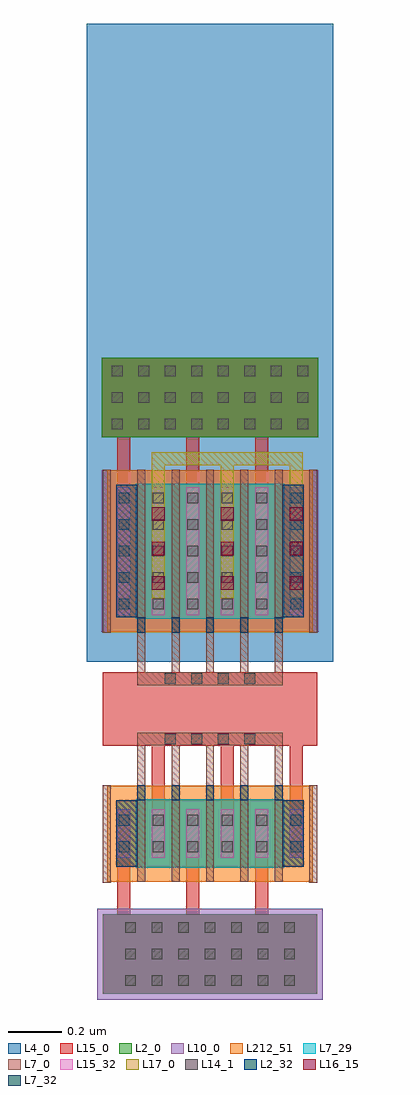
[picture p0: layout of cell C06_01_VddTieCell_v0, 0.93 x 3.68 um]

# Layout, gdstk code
import gdstk
lib = gdstk.Library(unit=1e-6, precision=1e-09)
def R(c, l, rs):  # rectangles x0, y0, x1, y1
    for r in rs: c.add(gdstk.rectangle(r[:2], r[2:], *l))
def A(c, l, x, y, w, h, nx, ny, dx, dy):  # array of equal rectangles
    R(c, l, [(x+i*dx, y+j*dy, x+i*dx+w, y+j*dy+h) for i in range(nx) for j in range(ny)])
L2_0 = (2, 0)
L2_32 = (2, 32)
L4_0 = (4, 0)
L7_0 = (7, 0)
L7_29 = (7, 29)
L7_32 = (7, 32)
L10_0 = (10, 0)
L14_1 = (14, 1)
L15_0 = (15, 0)
L15_32 = (15, 32)
L16_15 = (16, 15)
L17_0 = (17, 0)
L212_51 = (212, 51)

c06_01_vddtiecell_v0_srf = lib.new_cell('C06_01_VddTieCell_v0:SRF_TieCellNMOSRouted:SRF_Nmos:SRF_Gate_ViaM0Mx:SRF_ViaM0M1')
R(c06_01_vddtiecell_v0_srf, L7_0, [(-0.01,-0.004,0.35,0.044)])
A(c06_01_vddtiecell_v0_srf, L14_1, 0, 0, 0.04, 0.04, 4, 1, 0.1, 0)
R(c06_01_vddtiecell_v0_srf, L15_0, [(-0.021,-0.005,0.361,0.045)])

c_c06_01_vddtiecell_v0_srf = lib.new_cell('C06_01_VddTieCell_v0:SRF_TieCellNMOSRouted:SRF_Nmos:SRF_Gate_ViaM0Mx')
c_c06_01_vddtiecell_v0_srf.add(gdstk.Reference(c06_01_vddtiecell_v0_srf, (-0.17,-0.02)))

c_c06_01_vddtiecell_v0_srf_ = lib.new_cell('C06_01_VddTieCell_v0:SRF_TieCellNMOSRouted:SRF_Nmos')
R(c_c06_01_vddtiecell_v0_srf_, L2_0, [(-0.078,0.057,0.628,0.307)])
R(c_c06_01_vddtiecell_v0_srf_, L2_32, [(-0.078,0.057,0,0.307), (0.55,0.057,0.628,0.307)])
A(c_c06_01_vddtiecell_v0_srf_, L7_0, 0, 0, 0.03, 0.364, 5, 1, 0.13, 0)
A(c_c06_01_vddtiecell_v0_srf_, L7_0, 0, 0.364, 0.03, 0.15, 5, 1, 0.13, 0)
R(c_c06_01_vddtiecell_v0_srf_, L7_0, [(-0.13,-0.003,-0.1,0.364), (0.65,-0.003,0.68,0.364), (0,0.514,0.55,0.562)])
R(c_c06_01_vddtiecell_v0_srf_, L7_29, [(-0.005,0.052,0.555,0.312)])
A(c_c06_01_vddtiecell_v0_srf_, L7_32, 0, 0.307, 0.03, 0.057, 5, 1, 0.13, 0)
A(c_c06_01_vddtiecell_v0_srf_, L14_1, -0.07, 0.112, 0.04, 0.04, 6, 2, 0.13, 0.1)
R(c_c06_01_vddtiecell_v0_srf_, L15_0, [(-0.075,0.091,-0.025,0.273), (-0.075,0.091,-0.025,0.273), (0.055,0.091,0.105,0.273), (0.055,0.091,0.105,0.273), (0.185,0.091,0.235,0.273), (0.185,0.091,0.235,0.273), (0.315,0.091,0.365,0.273), (0.315,0.091,0.365,0.273), (0.445,0.091,0.495,0.273), (0.445,0.091,0.495,0.273), (0.575,0.091,0.625,0.273), (0.575,0.091,0.625,0.273), (0,0.513,0.55,0.563)])
A(c_c06_01_vddtiecell_v0_srf_, L15_32, -0.075, 0.091, 0.05, 0.182, 6, 1, 0.13, 0)
R(c_c06_01_vddtiecell_v0_srf_, L212_51, [(-0.113,0.001,0.663,0.363)])
c_c06_01_vddtiecell_v0_srf_.add(gdstk.Reference(c_c06_01_vddtiecell_v0_srf, (0.275,0.538)))

c_c06_01_vddtiecell_v0_srf__ = lib.new_cell('C06_01_VddTieCell_v0:SRF_TieCellNMOSRouted')
c_c06_01_vddtiecell_v0_srf__.add(gdstk.Reference(c_c06_01_vddtiecell_v0_srf_, (0,0)))

c_c06_01_vddtiecell_v0_srf___ = lib.new_cell('C06_01_VddTieCell_v0:SRF_TieCellPMOSRouted:SRF_Pmos:SRF_Drain_ViaM1M2:SRF_ViaM1M2')
R(c_c06_01_vddtiecell_v0_srf___, L15_0, [(0,-0.292,0.05,0.082)])
A(c_c06_01_vddtiecell_v0_srf___, L16_15, 0, -0.26, 0.05, 0.05, 1, 3, 0, 0.13)
R(c_c06_01_vddtiecell_v0_srf___, L17_0, [(0,-0.292,0.05,0.082)])

c_c06_01_vddtiecell_v0_srf____ = lib.new_cell('C06_01_VddTieCell_v0:SRF_TieCellPMOSRouted:SRF_Pmos:SRF_Drain_ViaM1M2')
c_c06_01_vddtiecell_v0_srf____.add(gdstk.Reference(c_c06_01_vddtiecell_v0_srf___, (-0.025,0.105)))

c_c06_01_vddtiecell_v0_srf_____ = lib.new_cell('C06_01_VddTieCell_v0:SRF_TieCellPMOSRouted:SRF_Pmos:SRF_Gate_ViaM0Mx:SRF_ViaM0M1')
R(c_c06_01_vddtiecell_v0_srf_____, L7_0, [(-0.01,-0.004,0.35,0.044)])
A(c_c06_01_vddtiecell_v0_srf_____, L14_1, 0, 0, 0.04, 0.04, 4, 1, 0.1, 0)
R(c_c06_01_vddtiecell_v0_srf_____, L15_0, [(-0.021,-0.005,0.361,0.045)])

c_c06_01_vddtiecell_v0_srf______ = lib.new_cell('C06_01_VddTieCell_v0:SRF_TieCellPMOSRouted:SRF_Pmos:SRF_Gate_ViaM0Mx')
c_c06_01_vddtiecell_v0_srf______.add(gdstk.Reference(c_c06_01_vddtiecell_v0_srf_____, (-0.17,-0.02)))

c_c06_01_vddtiecell_v0_srf_______ = lib.new_cell('C06_01_VddTieCell_v0:SRF_TieCellPMOSRouted:SRF_Pmos')
R(c_c06_01_vddtiecell_v0_srf_______, L2_0, [(-0.078,0.057,0.628,0.557)])
R(c_c06_01_vddtiecell_v0_srf_______, L2_32, [(-0.078,0.057,0,0.557), (0.55,0.057,0.628,0.557)])
A(c_c06_01_vddtiecell_v0_srf_______, L7_0, 0, -0.15, 0.03, 0.15, 5, 1, 0.13, 0)
A(c_c06_01_vddtiecell_v0_srf_______, L7_0, -0.13, 0, 0.03, 0.614, 7, 1, 0.13, 0)
R(c_c06_01_vddtiecell_v0_srf_______, L7_0, [(0,-0.198,0.55,-0.15)])
R(c_c06_01_vddtiecell_v0_srf_______, L7_29, [(-0.005,0.052,0.555,0.562)])
A(c_c06_01_vddtiecell_v0_srf_______, L7_32, 0, 0, 0.03, 0.057, 5, 1, 0.13, 0)
R(c_c06_01_vddtiecell_v0_srf_______, L10_0, [(-0.134,0.001,0.684,0.613)])
A(c_c06_01_vddtiecell_v0_srf_______, L14_1, -0.07, 0.087, 0.04, 0.04, 6, 5, 0.13, 0.1)
R(c_c06_01_vddtiecell_v0_srf_______, L15_0, [(0,-0.199,0.55,-0.149), (-0.075,0.066,-0.025,0.548), (-0.075,0.066,-0.025,0.548), (0.055,0.066,0.105,0.548), (0.055,0.066,0.105,0.548), (0.185,0.066,0.235,0.548), (0.185,0.066,0.235,0.548), (0.315,0.066,0.365,0.548), (0.315,0.066,0.365,0.548), (0.445,0.066,0.495,0.548), (0.445,0.066,0.495,0.548), (0.575,0.066,0.625,0.548), (0.575,0.066,0.625,0.548)])
A(c_c06_01_vddtiecell_v0_srf_______, L15_32, -0.075, 0.066, 0.05, 0.482, 6, 1, 0.13, 0)
A(c_c06_01_vddtiecell_v0_srf_______, L17_0, 0.055, 0.13, 0.05, 0.5, 3, 1, 0.26, 0)
R(c_c06_01_vddtiecell_v0_srf_______, L17_0, [(0.055,0.63,0.625,0.68)])
R(c_c06_01_vddtiecell_v0_srf_______, L212_51, [(-0.113,0.001,0.663,0.613)])
c_c06_01_vddtiecell_v0_srf_______.add(gdstk.Reference(c_c06_01_vddtiecell_v0_srf____, (0.08,0.317)))
c_c06_01_vddtiecell_v0_srf_______.add(gdstk.Reference(c_c06_01_vddtiecell_v0_srf____, (0.34,0.317)))
c_c06_01_vddtiecell_v0_srf_______.add(gdstk.Reference(c_c06_01_vddtiecell_v0_srf____, (0.6,0.317)))
c_c06_01_vddtiecell_v0_srf_______.add(gdstk.Reference(c_c06_01_vddtiecell_v0_srf______, (0.275,-0.174)))

c_c06_01_vddtiecell_v0_srf________ = lib.new_cell('C06_01_VddTieCell_v0:SRF_TieCellPMOSRouted')
c_c06_01_vddtiecell_v0_srf________.add(gdstk.Reference(c_c06_01_vddtiecell_v0_srf_______, (0,0)))

c_c06_01_vddtiecell_v0_srf_________ = lib.new_cell('C06_01_VddTieCell_v0:SRF_PMOS_Body_Contact:SRF_NbodyContactPhyLen')
R(c_c06_01_vddtiecell_v0_srf_________, L2_0, [(-0.039,-0.23,0.779,0.07)])
R(c_c06_01_vddtiecell_v0_srf_________, L4_0, [(-0.095,-0.286,0.835,0.126)])
A(c_c06_01_vddtiecell_v0_srf_________, L14_1, 0, -0.2, 0.04, 0.04, 8, 3, 0.1, 0.1)
R(c_c06_01_vddtiecell_v0_srf_________, L15_0, [(-0.039,-0.23,0.779,0.07)])

c_c06_01_vddtiecell_v0_srf__________ = lib.new_cell('C06_01_VddTieCell_v0:SRF_PMOS_Body_Contact')
c_c06_01_vddtiecell_v0_srf__________.add(gdstk.Reference(c_c06_01_vddtiecell_v0_srf_________, (0,0)))

c_c06_01_vddtiecell_v0_srf___________ = lib.new_cell('C06_01_VddTieCell_v0:SRF_NMOS_Body_Contact:SRF_PbodyContactPhyLen')
R(c_c06_01_vddtiecell_v0_srf___________, L2_0, [(-0.085,-0.23,0.725,0.07)])
R(c_c06_01_vddtiecell_v0_srf___________, L10_0, [(-0.106,-0.251,0.746,0.091)])
A(c_c06_01_vddtiecell_v0_srf___________, L14_1, 0, -0.2, 0.04, 0.04, 7, 3, 0.1, 0.1)
R(c_c06_01_vddtiecell_v0_srf___________, L15_0, [(-0.085,-0.23,0.725,0.07)])

c_c06_01_vddtiecell_v0_srf____________ = lib.new_cell('C06_01_VddTieCell_v0:SRF_NMOS_Body_Contact')
c_c06_01_vddtiecell_v0_srf____________.add(gdstk.Reference(c_c06_01_vddtiecell_v0_srf___________, (0,0)))

c06_01_vddtiecell_v0 = lib.new_cell('C06_01_VddTieCell_v0')
R(c06_01_vddtiecell_v0, L4_0, [(-0.19,0.829,0.74,1.621), (-0.19,0.829,0.74,3.237)])
A(c06_01_vddtiecell_v0, L15_0, -0.075, -0.123, 0.05, 0.214, 3, 1, 0.26, 0)
A(c06_01_vddtiecell_v0, L15_0, 0.055, 0.273, 0.05, 0.24, 3, 1, 0.26, 0)
A(c06_01_vddtiecell_v0, L15_0, -0.075, 1.488, 0.05, 0.189, 3, 1, 0.26, 0)
c06_01_vddtiecell_v0.add(gdstk.FlexPath([(0.275,0.791),(0.275,0.513)], 0.81, ends="flush", simple_path=True, layer=15, datatype=0))  # L15_0
c06_01_vddtiecell_v0.add(gdstk.Reference(c_c06_01_vddtiecell_v0_srf__, (0,0)))
c06_01_vddtiecell_v0.add(gdstk.Reference(c_c06_01_vddtiecell_v0_srf________, (0,0.94)))
c06_01_vddtiecell_v0.add(gdstk.Reference(c_c06_01_vddtiecell_v0_srf__________, (-0.095,1.907)))
c06_01_vddtiecell_v0.add(gdstk.Reference(c_c06_01_vddtiecell_v0_srf____________, (-0.045,-0.193)))

lib.write_gds('C06_01_VddTieCell_v0.gds')
